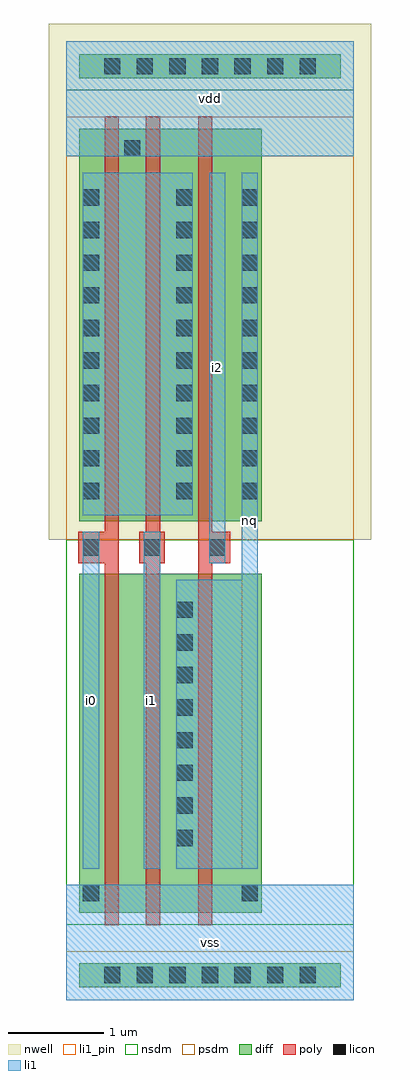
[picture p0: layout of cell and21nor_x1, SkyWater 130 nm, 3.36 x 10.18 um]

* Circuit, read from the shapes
.subckt and21nor_x1 i0 i1 i2 nq vdd vss
XM1 n1 i0 vss VSUBS sky130_fd_pr__nfet_01v8 w=3.535 l=0.15
XM2 nq i1 n1 VSUBS sky130_fd_pr__nfet_01v8 w=3.535 l=0.15
XM3 vss i2 nq VSUBS sky130_fd_pr__nfet_01v8 w=3.535 l=0.15
XM4 vdd i0 n2 n3 sky130_fd_pr__pfet_01v8 w=4.095 l=0.15
XM5 n2 i1 vdd n3 sky130_fd_pr__pfet_01v8 w=4.095 l=0.15
XM6 nq i2 n2 n3 sky130_fd_pr__pfet_01v8 w=4.095 l=0.15
.ends

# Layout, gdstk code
import gdstk
lib = gdstk.Library(unit=1e-6, precision=1e-09)
def R(c, l, rs):  # rectangles x0, y0, x1, y1
    for r in rs: c.add(gdstk.rectangle(r[:2], r[2:], *l))
def A(c, l, x, y, w, h, nx, ny, dx, dy):  # array of equal rectangles
    R(c, l, [(x+i*dx, y+j*dy, x+i*dx+w, y+j*dy+h) for i in range(nx) for j in range(ny)])
def P(c, l, *ps):  # polygons
    for p in ps: c.add(gdstk.Polygon(p, *l))
nwell = (64, 20)
diff = (65, 20)
poly = (66, 20)
licon = (66, 44)
li1_pin = (67, 16)
li1 = (67, 20)
nsdm = (93, 44)
psdm = (94, 20)

and21nor_x1 = lib.new_cell('and21nor_x1')
R(and21nor_x1, nwell, [(-0.18,4.8,3.18,10.18)])
R(and21nor_x1, diff, [(0.135,0.135,2.865,0.385), (0.135,0.91,2.04,4.445), (0.135,4.995,2.04,9.09), (0.135,9.615,2.865,9.865)])
P(and21nor_x1, poly, [(0.4,0.78),(0.4,4.555),(0.125,4.555),(0.125,4.885),(0.4,4.885),(0.4,9.22),(0.55,9.22),(0.55,0.78)],
  [(0.83,0.78),(0.83,4.555),(0.76,4.555),(0.76,4.885),(0.83,4.885),(0.83,9.22),(0.98,9.22),(0.98,4.885),(1.03,4.885),(1.03,4.555),(0.98,4.555),(0.98,0.78)],
  [(1.375,0.78),(1.375,9.22),(1.525,9.22),(1.525,4.885),(1.71,4.885),(1.71,4.555),(1.525,4.555),(1.525,0.78)])
A(and21nor_x1, licon, 0.395, 0.175, 0.17, 0.17, 7, 2, 0.34, 9.48)
A(and21nor_x1, licon, 1.15, 1.605, 0.17, 0.17, 1, 8, 0, 0.34)
A(and21nor_x1, licon, 0.175, 5.225, 0.17, 0.17, 1, 10, 0, 0.34)
A(and21nor_x1, licon, 1.15, 5.225, 0.17, 0.17, 1, 10, 0, 0.34)
A(and21nor_x1, licon, 1.83, 5.225, 0.17, 0.17, 1, 10, 0, 0.34)
R(and21nor_x1, licon, [(0.175,1.03,0.345,1.2), (1.83,1.03,2,1.2), (0.175,4.635,0.345,4.805), (0.81,4.635,0.98,4.805), (1.49,4.635,1.66,4.805), (0.605,8.8,0.775,8.97)])
R(and21nor_x1, li1_pin, [(0,0,3,1.2), (0.175,1.37,0.345,4.885), (0.81,1.37,0.98,4.885), (1.83,1.37,2,8.63), (1.49,4.555,1.66,8.63), (0,8.8,3,10)])
R(and21nor_x1, li1, [(0,0,3,1.2), (0.175,1.37,0.345,4.885), (0.81,1.37,0.98,4.885), (1.49,4.555,1.66,8.63), (0.175,5.055,1.32,8.63), (0,8.8,3,10)])
P(and21nor_x1, li1, [(1.15,1.37),(1.15,4.385),(1.83,4.385),(1.83,8.63),(2,8.63),(2,1.37)])
R(and21nor_x1, nsdm, [(0,0.785,3,4.8), (0,9.49,3,10)])
R(and21nor_x1, psdm, [(0,0,3,0.51), (0,4.8,3,9.215)])
and21nor_x1.add(gdstk.Label('vss', (1.5,0.6), layer=67, texttype=16))
and21nor_x1.add(gdstk.Label('vdd', (1.5,9.4), layer=67, texttype=16))
and21nor_x1.add(gdstk.Label('i0', (0.26,3.128), layer=67, texttype=16))
and21nor_x1.add(gdstk.Label('nq', (1.915,5), layer=67, texttype=16))
and21nor_x1.add(gdstk.Label('i1', (0.895,3.128), layer=67, texttype=16))
and21nor_x1.add(gdstk.Label('i2', (1.575,6.593), layer=67, texttype=16))

lib.write_gds('and21nor_x1.gds')
